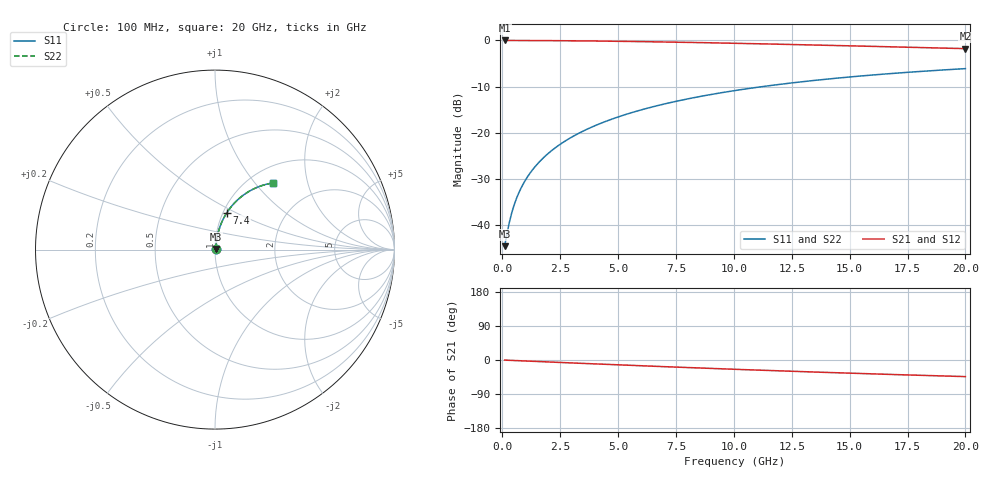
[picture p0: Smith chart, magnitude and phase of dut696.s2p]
! Touchstone file exported from HFSS 2024.1.0
!  File:  C:/UserFiles/LocalFiles/RDL_TSV_Batchsim/temp_RDL_bottom_696_1779787249.aedt
!  Generated:  05:23:24 PM May 26, 2026
!  Design:  RDL_bottom
!  Project:  temp_RDL_bottom_696_1779787249
!  Setup:  Setup1
!  Solution:  Sweep
! Variables:
!  dtsv = 10.80580581um
!  hbump = 3um
!  htsv = 56.44um
!  ldown = 573.81um
!  lrdl = 100um
!  p = 40
!  p1 = 46.45um
!  rhole = 1um
!  t = 450um
!  tdown = 3.58um
!  trdl = 3.915915916um
!  wdown = 11.22um
!  wrdl = 20um
# GHz S MA R 50.000000
! Terminal data exported
! Port[1] = RDL1_T1
! Port[2] = RDL1_T2
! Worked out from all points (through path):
!   200 points, 100 MHz to 20 GHz, reference 50 ohm
!   highest |S21| = -0.04 dB at 100 MHz (marker M1); lowest = -1.8 dB at 20 GHz (marker M2)
!   group delay of S21, straight-line fit = 6.09 ps
!   lowest |S11| = -44.5 dB at 100 MHz (marker M3), VSWR 1.01, Z = 50.5 + j0.314 ohm
!   |S11| at or under -10 dB: start of sweep to 11.25 GHz
!   |S22| runs from -44.5 to -6.1 dB; largest |S21 - S12| = 2.6e-15
!   S11 on the Smith chart (normalised r, x): 100 MHz: 1.01, +0.01; 7.4 GHz: 1.04, +0.45; 20 GHz: 1.27, +1.25
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0.1  0.005973 31.3  0.9949 -0.3  0.9949 -0.3  0.005973 31.3
! Gamma 0 0 0 0
! Port Impedance 50 0 50 0
0.3  0.01067 60.1  0.9947 -0.8  0.9947 -0.8  0.01067 60.1
0.4  0.01345 65.9  0.9946 -1.1  0.9946 -1.1  0.01345 65.9
0.5  0.01631 69.7  0.9944 -1.3  0.9944 -1.3  0.01631 69.7
0.6  0.0192 72.2  0.9942 -1.6  0.9942 -1.6  0.0192 72.2
0.8  0.02503 75.4  0.9939 -2.1  0.9939 -2.1  0.02503 75.4
1.1  0.03384 77.9  0.9933 -2.9  0.9933 -2.9  0.03384 77.9
1.5  0.04564 79.5  0.9924 -3.9  0.9924 -3.9  0.04564 79.4
1.8  0.05452 79.9  0.9915 -4.7  0.9915 -4.7  0.05452 79.9
2.1  0.0634 80.1  0.9905 -5.5  0.9905 -5.5  0.0634 80.1
2.7  0.08116 79.9  0.9882 -7.0  0.9882 -7.0  0.08116 79.9
3.5  0.1047 79.1  0.9842 -9.0  0.9842 -9.0  0.1047 79.1
4.2  0.1252 78.1  0.9801 -10.8  0.9801 -10.8  0.1252 78.0
5  0.1485 76.7  0.9746 -12.8  0.9746 -12.8  0.1484 76.7
5.9  0.1742 75.1  0.9677 -15.0  0.9677 -15.0  0.1742 75.1
6.8  0.1995 73.4  0.96 -17.1  0.96 -17.1  0.1995 73.4
7.4  0.2161 72.2  0.9545 -18.5  0.9545 -18.5  0.2161 72.2
8.7  0.2513 69.6  0.9417 -21.5  0.9417 -21.5  0.2512 69.6
10.1  0.2877 66.9  0.9269 -24.7  0.9269 -24.7  0.2876 66.9
13.4  0.3666 60.5  0.8895 -31.6  0.8895 -31.6  0.3665 60.5
16.7  0.4354 54.4  0.8504 -38.0  0.8504 -38.0  0.4352 54.4
20  0.4939 48.8  0.8117 -43.8  0.8117 -43.8  0.4937 48.8
